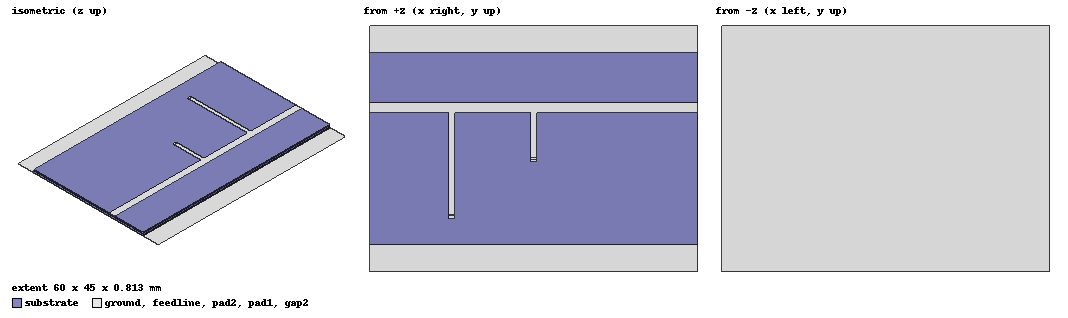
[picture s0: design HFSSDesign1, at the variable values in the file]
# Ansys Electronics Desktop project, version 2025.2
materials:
  vacuum: permittivity=1
  RO4003C_338: permittivity=3.38 permeability=1 dielectric_loss_tangent=0.0027
  pec: conductivity=1e+30

design HFSSDesign1 (HFSS, HFSS Modal Network, model units mm)
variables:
  sub_h = 0.813mm
  w50 = 1.85mm
  wstub = 1mm
  l_stub1 = 18.7mm
  l_stub2 = 8.3mm
  pos1 = 10mm
  pos2 = 25mm
  gap_size = 0.2mm
  pad_l = 0.5mm
  Cvar1 = 0.8pF
  Cvar2 = 0.8pF
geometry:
  ground = rectangle(corner=(-5mm, -30mm, 0mm), x_size=60mm, y_size=45mm)
  substrate [RO4003C_338] = box(corner=(-5mm, -25mm, 0mm), size=(60mm, 35mm, sub_h))
  feedline = rectangle(corner=(-5mm, -w50/2, sub_h), x_size=60mm, y_size=w50)
  stub1 = rectangle(corner=(pos1-wstub/2, -w50/2, sub_h), x_size=wstub, y_size=-l_stub1)
  gap1 = rectangle(corner=(pos1-wstub/2, -w50/2-l_stub1, sub_h), x_size=wstub, y_size=-gap_size)
  pad1 = rectangle(corner=(pos1-wstub/2, -w50/2-l_stub1-gap_size, sub_h), x_size=wstub, y_size=-pad_l)
  via1 [pec] = cylinder(axis=Z, base_centre=(pos1, -w50/2-l_stub1-gap_size-pad_l/2, 0mm), radius=0.15mm, height=sub_h)
  stub2 = rectangle(corner=(pos2-wstub/2, -w50/2, sub_h), x_size=wstub, y_size=-l_stub2)
  gap2 = rectangle(corner=(pos2-wstub/2, -w50/2-l_stub2, sub_h), x_size=wstub, y_size=-gap_size)
  pad2 = rectangle(corner=(pos2-wstub/2, -w50/2-l_stub2-gap_size, sub_h), x_size=wstub, y_size=-pad_l)
  via2 [pec] = cylinder(axis=Z, base_centre=(pos2, -w50/2-l_stub2-gap_size-pad_l/2, 0mm), radius=0.15mm, height=sub_h)
  feedline.unite(stub1, stub2)
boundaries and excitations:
  PEC_metal: Perfect E Objects=[ground, feedline, pad1, pad2]
